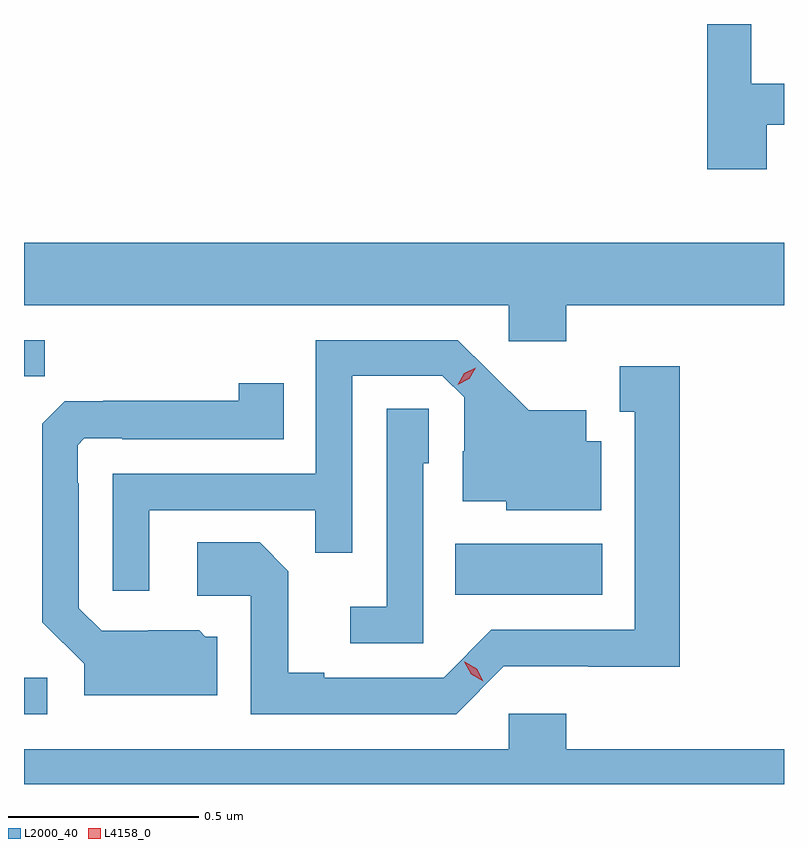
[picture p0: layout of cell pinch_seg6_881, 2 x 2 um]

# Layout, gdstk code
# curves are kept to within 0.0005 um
import gdstk
lib = gdstk.Library(unit=1e-6, precision=1e-09)
def R(c, l, rs):  # rectangles x0, y0, x1, y1
    for r in rs: c.add(gdstk.rectangle(r[:2], r[2:], *l))
def P(c, l, *ps):  # polygons
    for p in ps: c.add(gdstk.Polygon(p, *l))
L2000_40 = (2000, 40)
L4158_0 = (4158, 0)

pinch_seg6_881 = lib.new_cell('pinch_seg6_881')
R(pinch_seg6_881, L2000_40, [(144.225,984.888,144.286,984.984), (145.36,985.202,145.747,985.336), (144.225,985.777,144.279,985.872)])
P(pinch_seg6_881, L2000_40, [(146.179,986.439),(146.225,986.439),(146.225,986.547),(146.139,986.547),(146.139,986.704),(146.023,986.704),(146.023,986.322),(146.179,986.322)],
  [(145.652,985.964),(146.225,985.964),(146.225,986.128),(144.225,986.128),(144.225,985.964),(145.5,985.964),(145.5,985.869),(145.652,985.869)],
  [(144.555,985.425),(144.991,985.425),(144.991,985.312),(145.089,985.312),(145.089,985.779),(145.326,985.779),(145.383,985.722),(145.383,985.58),(145.379,985.58),(145.379,985.448),(145.494,985.448),(145.494,985.424),(145.744,985.424),(145.744,985.606),(145.705,985.606),(145.705,985.687),(145.553,985.687),(145.366,985.872),(144.993,985.872),(144.993,985.521),(144.459,985.521),(144.459,985.212),(144.555,985.212)],
  [(145.488,985.014),(145.71,985.014),(145.71,985.013),(145.951,985.013),(145.951,985.804),(145.793,985.804),(145.793,985.683),(145.832,985.683),(145.832,985.11),(145.455,985.11),(145.329,984.984),(145.015,984.984),(145.015,984.997),(144.921,984.997),(144.921,985.264),(144.845,985.34),(144.681,985.34),(144.681,985.2),(144.822,985.2),(144.822,984.888),(145.362,984.888)],
  [(144.733,985.092),(144.702,985.092),(144.686,985.108),(144.552,985.108),(144.552,985.107),(144.429,985.107),(144.369,985.167),(144.369,985.496),(144.366,985.496),(144.366,985.596),(144.384,985.614),(144.484,985.614),(144.484,985.611),(144.908,985.611),(144.908,985.759),(144.79,985.759),(144.79,985.712),(144.433,985.712),(144.433,985.711),(144.332,985.711),(144.273,985.652),(144.273,985.13),(144.383,985.02),(144.383,984.938),(144.733,984.938)],
  [(145.275,985.548),(145.29,985.548),(145.29,985.691),(145.179,985.691),(145.179,985.171),(145.083,985.171),(145.083,985.074),(145.275,985.074)],
  [(146.225,984.796),(145.652,984.796),(145.652,984.889),(145.5,984.889),(145.5,984.796),(144.225,984.796),(144.225,984.704),(146.225,984.704)])
P(pinch_seg6_881, L4158_0, [(145.434,984.975),(145.402,984.993),(145.384,985.026),(145.384,985.026),(145.385,985.026),(145.416,985.007),(145.434,984.975),(145.434,984.975)],
  [(145.367,985.755),(145.367,985.755),(145.383,985.785),(145.414,985.8),(145.414,985.8),(145.414,985.8),(145.397,985.77),(145.367,985.755)])

lib.write_gds('pinch_seg6_881.gds')
